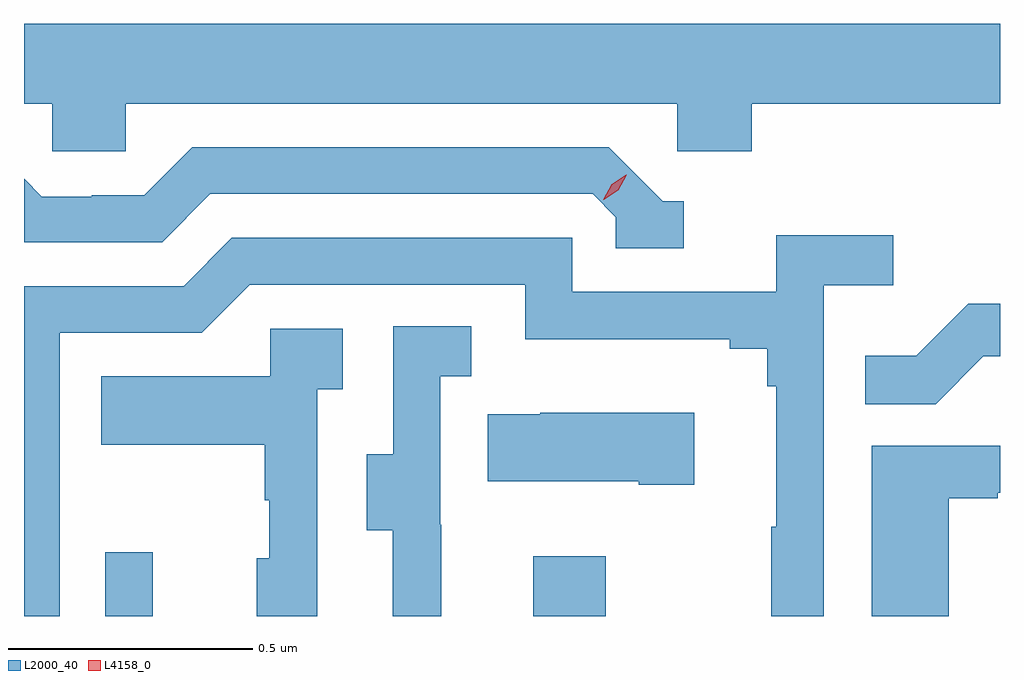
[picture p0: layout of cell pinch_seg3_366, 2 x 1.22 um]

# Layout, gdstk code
import gdstk
lib = gdstk.Library(unit=1e-6, precision=1e-09)
def R(c, l, rs):  # rectangles x0, y0, x1, y1
    for r in rs: c.add(gdstk.rectangle(r[:2], r[2:], *l))
def P(c, l, *ps):  # polygons
    for p in ps: c.add(gdstk.Polygon(p, *l))
L2000_40 = (2000, 40)
L4158_0 = (4158, 0)

pinch_seg3_366 = lib.new_cell('pinch_seg3_366')
R(pinch_seg3_366, L2000_40, [(960.087,691.873,960.185,692.005), (960.965,691.873,961.113,691.996)])
P(pinch_seg3_366, L2000_40, [(960.129,692.924),(961.26,692.924),(961.26,692.826),(961.412,692.826),(961.412,692.924),(961.921,692.924),(961.921,693.088),(959.921,693.088),(959.921,692.924),(959.979,692.924),(959.979,692.826),(960.129,692.826)],
  [(961.273,692.724),(961.23,692.724),(961.119,692.835),(960.266,692.835),(960.167,692.736),(960.06,692.736),(960.06,692.733),(959.957,692.733),(959.921,692.77),(959.921,692.64),(960.204,692.64),(960.303,692.739),(961.086,692.739),(961.134,692.691),(961.134,692.628),(961.273,692.628)],
  [(959.994,692.454),(960.285,692.454),(960.384,692.553),(960.948,692.553),(960.948,692.441),(961.367,692.441),(961.367,692.422),(961.444,692.422),(961.444,692.345),(961.463,692.345),(961.463,692.057),(961.452,692.057),(961.452,691.873),(961.56,691.873),(961.56,692.552),(961.702,692.552),(961.702,692.654),(961.463,692.654),(961.463,692.538),(961.044,692.538),(961.044,692.649),(960.347,692.649),(960.248,692.55),(959.921,692.55),(959.921,691.873),(959.994,691.873)],
  [(961.887,692.406),(961.921,692.406),(961.921,692.514),(961.856,692.514),(961.749,692.407),(961.645,692.407),(961.645,692.308),(961.789,692.308)],
  [(960.776,692.061),(960.774,692.061),(960.774,692.365),(960.838,692.365),(960.838,692.468),(960.678,692.468),(960.678,692.205),(960.623,692.205),(960.623,692.05),(960.677,692.05),(960.677,691.873),(960.776,691.873)],
  [(960.522,692.339),(960.574,692.339),(960.574,692.463),(960.426,692.463),(960.426,692.365),(960.079,692.365),(960.079,692.225),(960.414,692.225),(960.414,692.111),(960.424,692.111),(960.424,691.992),(960.398,691.992),(960.398,691.873),(960.522,691.873)],
  [(961.294,692.29),(960.979,692.29),(960.979,692.287),(960.871,692.287),(960.871,692.15),(961.181,692.15),(961.181,692.143),(961.294,692.143)],
  [(961.816,692.115),(961.916,692.115),(961.916,692.127),(961.921,692.127),(961.921,692.223),(961.658,692.223),(961.658,691.873),(961.816,691.873)])
P(pinch_seg3_366, L4158_0, [(961.108,692.727),(961.108,692.727),(961.125,692.759),(961.155,692.778),(961.156,692.778),(961.156,692.778),(961.139,692.746),(961.109,692.727)])

lib.write_gds('pinch_seg3_366.gds')
